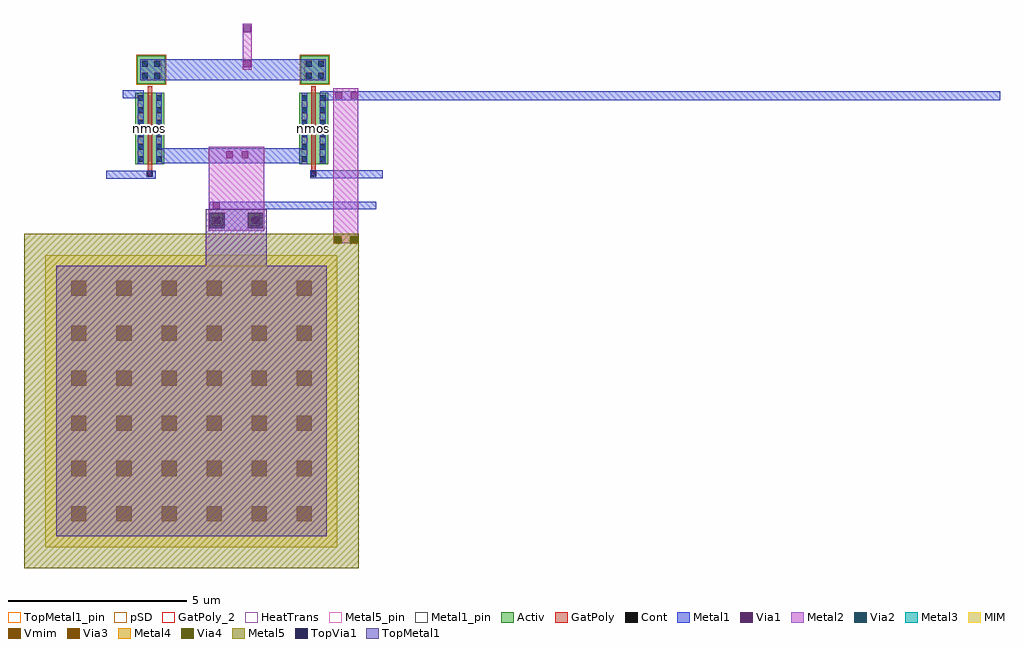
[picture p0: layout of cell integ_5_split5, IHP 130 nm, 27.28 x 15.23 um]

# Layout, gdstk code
from math import pi, radians
import gdstk
lib = gdstk.Library(unit=1e-6, precision=1e-09)
def R(c, l, rs):  # rectangles x0, y0, x1, y1
    for r in rs: c.add(gdstk.rectangle(r[:2], r[2:], *l))
def A(c, l, x, y, w, h, nx, ny, dx, dy):  # array of equal rectangles
    R(c, l, [(x+i*dx, y+j*dy, x+i*dx+w, y+j*dy+h) for i in range(nx) for j in range(ny)])
Activ = (1, 0)
GatPoly = (5, 0)
GatPoly_2 = (5, 2)
Cont = (6, 0)
Metal1 = (8, 0)
Metal1_pin = (8, 2)
Metal2 = (10, 0)
pSD = (14, 0)
Via1 = (19, 0)
Via2 = (29, 0)
Metal3 = (30, 0)
MIM = (36, 0)
Via3 = (49, 0)
Metal4 = (50, 0)
HeatTrans = (51, 0)
Via4 = (66, 0)
Metal5 = (67, 0)
Metal5_pin = (67, 2)
TopVia1 = (125, 0)
TopMetal1 = (126, 0)
TopMetal1_pin = (126, 2)
Vmim = (129, 0)

cmim_1 = lib.new_cell('cmim$1')
R(cmim_1, MIM, [(0,0,8.16,8.16)])
R(cmim_1, Metal5, [(-0.6,-0.6,8.76,8.76)])
R(cmim_1, Metal5_pin, [(-0.6,-0.6,8.76,8.76)])
R(cmim_1, TopMetal1, [(0.295,0.295,7.855,7.855)])
R(cmim_1, TopMetal1_pin, [(0.295,0.295,7.855,7.855)])
A(cmim_1, Vmim, 0.715, 0.715, 0.42, 0.42, 6, 6, 1.26, 1.26)

integ_5_split5 = lib.new_cell('integ_5_split5')
R(integ_5_split5, Activ, [(-0.577,-1.81,0.233,0.19), (3.999,-1.81,4.809,0.19), (-0.577,-0.11,-0.277,0.19), (-0.067,-0.11,0.233,0.19), (3.999,-0.11,4.299,0.19), (4.509,-0.11,4.809,0.19), (-0.526,0.442,0.254,1.222), (4.05,0.442,4.83,1.222)])
R(integ_5_split5, GatPoly, [(-0.237,-2.159,-0.107,0.37), (4.339,-2.158,4.469,0.37)])
R(integ_5_split5, GatPoly_2, [(-0.237,-1.99,-0.107,0.37), (4.339,-1.99,4.469,0.37)])
A(integ_5_split5, Cont, -0.507, -1.74, 0.16, 0.16, 1, 6, 0, 0.34)
A(integ_5_split5, Cont, 0.003, -1.74, 0.16, 0.16, 1, 6, 0, 0.34)
A(integ_5_split5, Cont, 4.069, -1.74, 0.16, 0.16, 1, 6, 0, 0.34)
A(integ_5_split5, Cont, 4.579, -1.74, 0.16, 0.16, 1, 6, 0, 0.34)
R(integ_5_split5, Cont, [(4.324,-2.16,4.484,-2), (-0.257,-2.153,-0.097,-1.993), (-0.386,0.582,-0.226,0.742), (-0.046,0.582,0.114,0.742), (4.19,0.582,4.35,0.742), (4.53,0.582,4.69,0.742), (-0.386,0.922,-0.226,1.082), (-0.046,0.922,0.114,1.082), (4.19,0.922,4.35,1.082), (4.53,0.922,4.69,1.082)])
R(integ_5_split5, Metal1, [(1.485,-3.071,6.152,-2.853), (-1.389,-2.218,-0.005,-1.99), (4.314,-2.2,6.332,-1.984), (-0.507,-1.81,-0.347,0.19), (0.003,-1.81,0.163,0.19), (4.069,-1.81,4.229,0.19), (4.579,-1.78,4.739,0.19), (0.042,-1.775,4.121,-1.362), (4.584,-0.017,23.589,0.235), (-0.931,0.03,-0.347,0.257), (-0.436,0.532,0.164,1.132), (0.1,0.532,4.74,1.132)])
R(integ_5_split5, Metal1_pin, [(-0.507,-1.81,-0.347,0.19), (0.003,-1.81,0.163,0.19), (4.069,-1.81,4.229,0.19), (4.579,-1.78,4.739,0.19), (-0.436,0.532,0.164,1.132), (4.14,0.532,4.74,1.132)])
R(integ_5_split5, Metal2, [(4.976,-4.024,5.185,-3.82), (5.419,-4.024,5.628,-3.82), (4.952,-4.023,5.646,0.308), (1.479,-3.665,3.018,-1.318), (1.567,-3.515,1.873,-3.201), (2.593,-3.515,2.899,-3.201), (2.421,0.831,2.669,2.124)])
R(integ_5_split5, pSD, [(-0.556,0.412,0.284,1.252), (4.02,0.412,4.86,1.252)])
R(integ_5_split5, Via1, [(1.609,-3.477,1.799,-3.287), (2.672,-3.477,2.862,-3.287), (1.588,-3.059,1.778,-2.869), (1.961,-1.638,2.151,-1.448), (2.394,-1.638,2.584,-1.448), (5.013,0.018,5.203,0.208), (5.446,0.02,5.636,0.21), (2.458,0.907,2.648,1.097), (2.452,1.879,2.642,2.069)])
R(integ_5_split5, Via2, [(4.986,-4.015,5.176,-3.825), (5.429,-4.015,5.619,-3.825), (1.609,-3.45,1.799,-3.26), (2.672,-3.45,2.862,-3.26)])
R(integ_5_split5, Metal3, [(4.978,-4.024,5.186,-3.818), (5.421,-4.024,5.629,-3.818), (1.564,-3.512,1.873,-3.2), (2.59,-3.512,2.899,-3.2)])
R(integ_5_split5, Via3, [(4.986,-4.015,5.176,-3.825), (5.429,-4.015,5.619,-3.825), (1.609,-3.477,1.799,-3.287), (2.672,-3.477,2.862,-3.287)])
R(integ_5_split5, Metal4, [(4.971,-4.025,5.189,-3.815), (5.414,-4.025,5.632,-3.815), (1.56,-3.522,1.875,-3.195), (2.585,-3.522,2.9,-3.195)])
R(integ_5_split5, HeatTrans, [(-0.237,-1.99,-0.107,0.37), (4.339,-1.99,4.469,0.37)])
R(integ_5_split5, Via4, [(4.986,-4.015,5.176,-3.825), (5.429,-4.015,5.619,-3.825), (1.609,-3.477,1.799,-3.287), (2.672,-3.477,2.862,-3.287)])
R(integ_5_split5, Metal5, [(1.552,-3.53,1.882,-3.188), (2.578,-3.53,2.908,-3.188)])
R(integ_5_split5, TopVia1, [(1.494,-3.592,1.914,-3.172), (2.557,-3.592,2.977,-3.172)])
R(integ_5_split5, TopMetal1, [(1.395,-5.134,3.094,-3.07)])
integ_5_split5.add(gdstk.Reference(cmim_1, (5.07,-4.348), rotation=pi))
integ_5_split5.add(gdstk.Label('nmos', (-0.172,-0.81), layer=51, texttype=0))
integ_5_split5.add(gdstk.Label('nmos', (4.404,-0.81), layer=51, texttype=0))

lib.write_gds('integ_5_split5.gds')
